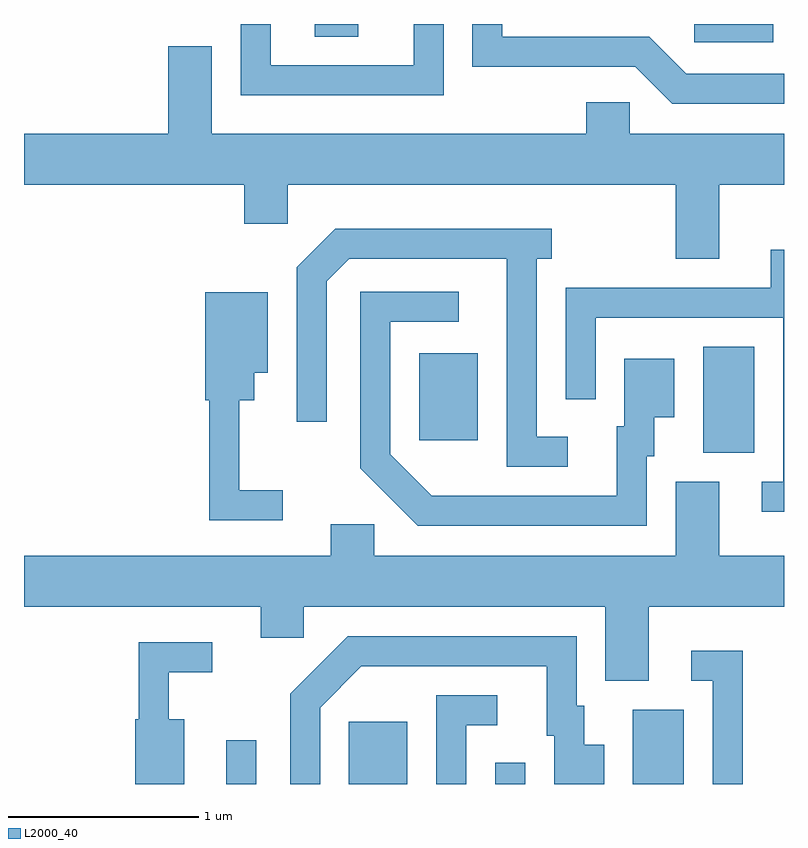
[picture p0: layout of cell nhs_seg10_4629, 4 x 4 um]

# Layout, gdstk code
import gdstk
lib = gdstk.Library(unit=1e-6, precision=1e-09)
def R(c, l, rs):  # rectangles x0, y0, x1, y1
    for r in rs: c.add(gdstk.rectangle(r[:2], r[2:], *l))
def P(c, l, *ps):  # polygons
    for p in ps: c.add(gdstk.Polygon(p, *l))
L2000_40 = (2000, 40)

nhs_seg10_4629 = lib.new_cell('nhs_seg10_4629')
R(nhs_seg10_4629, L2000_40, [(322.676,2128.522,322.834,2128.753), (323.321,2128.522,323.629,2128.849), (324.091,2128.522,324.249,2128.633), (324.816,2128.522,325.084,2128.914), (325.186,2130.266,325.454,2130.824), (323.691,2130.331,323.999,2130.789), (325.138,2132.426,325.554,2132.522), (323.141,2132.456,323.369,2132.522)])
P(nhs_seg10_4629, L2000_40, [(325.611,2132.259),(325.097,2132.259),(324.902,2132.454),(324.129,2132.454),(324.129,2132.522),(323.971,2132.522),(323.971,2132.296),(324.829,2132.296),(325.024,2132.101),(325.611,2132.101)],
  [(323.819,2132.522),(323.661,2132.522),(323.661,2132.304),(322.909,2132.304),(322.909,2132.522),(322.751,2132.522),(322.751,2132.146),(323.819,2132.146)],
  [(322.771,2131.471),(322.999,2131.471),(322.999,2131.676),(325.041,2131.676),(325.041,2131.286),(325.269,2131.286),(325.269,2131.676),(325.611,2131.676),(325.611,2131.944),(324.799,2131.944),(324.799,2132.109),(324.571,2132.109),(324.571,2131.944),(322.599,2131.944),(322.599,2132.404),(322.371,2132.404),(322.371,2131.944),(321.611,2131.944),(321.611,2131.676),(322.771,2131.676)],
  [(324.473,2130.349),(324.309,2130.349),(324.309,2131.286),(324.388,2131.286),(324.388,2131.444),(323.249,2131.444),(323.046,2131.242),(323.046,2130.428),(323.204,2130.428),(323.204,2131.169),(323.322,2131.286),(324.151,2131.286),(324.151,2130.191),(324.473,2130.191)],
  [(325.611,2131.334),(325.541,2131.334),(325.541,2131.134),(324.461,2131.134),(324.461,2130.548),(324.619,2130.548),(324.619,2130.976),(325.606,2130.976),(325.606,2130.114),(325.493,2130.114),(325.493,2129.956),(325.611,2129.956)],
  [(324.889,2130.246),(324.929,2130.246),(324.929,2130.451),(325.034,2130.451),(325.034,2130.759),(324.771,2130.759),(324.771,2130.404),(324.731,2130.404),(324.731,2130.039),(323.757,2130.039),(323.539,2130.257),(323.539,2130.956),(323.898,2130.956),(323.898,2131.114),(323.381,2131.114),(323.381,2130.184),(323.684,2129.881),(324.889,2129.881)],
  [(322.973,2130.069),(322.744,2130.069),(322.744,2130.541),(322.824,2130.541),(322.824,2130.686),(322.894,2130.686),(322.894,2131.109),(322.566,2131.109),(322.566,2130.541),(322.586,2130.541),(322.586,2129.911),(322.973,2129.911)],
  [(324.899,2129.456),(325.611,2129.456),(325.611,2129.724),(325.269,2129.724),(325.269,2130.114),(325.041,2130.114),(325.041,2129.724),(323.454,2129.724),(323.454,2129.889),(323.226,2129.889),(323.226,2129.724),(321.611,2129.724),(321.611,2129.456),(322.856,2129.456),(322.856,2129.291),(323.084,2129.291),(323.084,2129.456),(324.671,2129.456),(324.671,2129.066),(324.899,2129.066)],
  [(323.169,2128.924),(323.387,2129.141),(324.361,2129.141),(324.361,2128.776),(324.401,2128.776),(324.401,2128.522),(324.664,2128.522),(324.664,2128.729),(324.559,2128.729),(324.559,2128.934),(324.519,2128.934),(324.519,2129.299),(323.314,2129.299),(323.011,2128.997),(323.011,2128.522),(323.169,2128.522)],
  [(322.454,2128.864),(322.374,2128.864),(322.374,2129.111),(322.603,2129.111),(322.603,2129.269),(322.216,2129.269),(322.216,2128.864),(322.196,2128.864),(322.196,2128.522),(322.454,2128.522)],
  [(325.394,2129.224),(325.123,2129.224),(325.123,2129.066),(325.236,2129.066),(325.236,2128.522),(325.394,2128.522)],
  [(323.939,2128.831),(324.103,2128.831),(324.103,2128.989),(323.781,2128.989),(323.781,2128.522),(323.939,2128.522)])

lib.write_gds('nhs_seg10_4629.gds')
